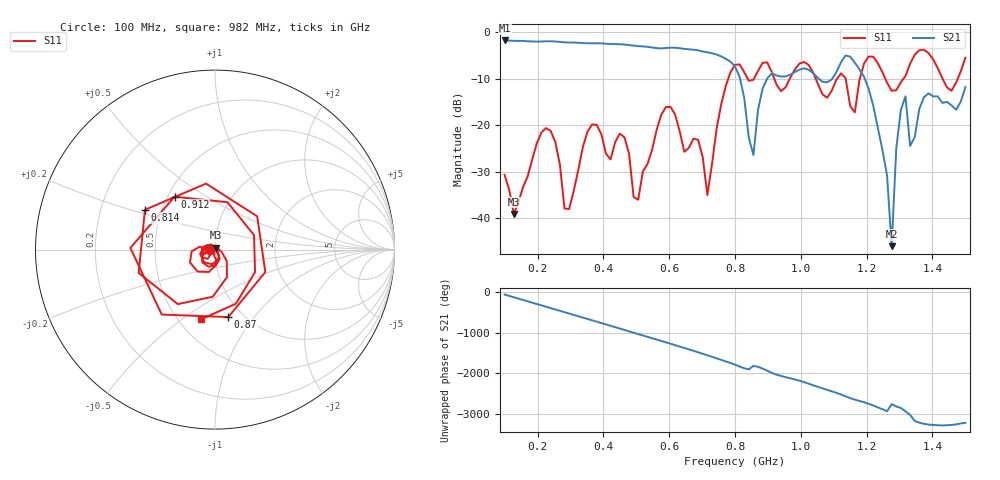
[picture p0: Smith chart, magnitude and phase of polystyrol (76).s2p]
! NanoVNA-App
! Date: 2025-09-25 15:30:29
! Start: 100MHz Stop: 1,5GHz Points: 101
! S-Parameter data: F S11 S21 S12 S22
# Hz S RI R 50
!  Frequency  S11_Real  S11_Imag  S21_Real  S21_Imag  S12_Real  S12_Imag  S22_Real  S22_Imag
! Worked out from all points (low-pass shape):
!   101 points, 100 MHz to 1.5 GHz, reference 50 ohm
!   highest |S21| = -1.80 dB at 100 MHz (marker M1); lowest = -46.1 dB at 1.276 GHz (marker M2)
!   |S21| within 3 dB of the highest: start of sweep to 742.9 MHz
!   lowest |S11| = -39.1 dB at 128 MHz (marker M3), VSWR 1.02, Z = 50.3 + j1.06 ohm
!   |S11| at or under -10 dB: start of sweep to 779.7 MHz; 1.045 GHz to 1.111 GHz (65.42 MHz wide, 6.07 % of centre); 1.257 GHz to 1.312 GHz (55.69 MHz wide, 4.34 % of centre)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
!   S12 and S22 are empty: the file has one direction only
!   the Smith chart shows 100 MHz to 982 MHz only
!   S11 on the Smith chart (normalised r, x): 100 MHz: 0.94, -0.01; 814 MHz: 0.40, +0.22; 870 MHz: 0.85, -0.75; 912 MHz: 0.54, +0.37; 982 MHz: 0.64, -0.59
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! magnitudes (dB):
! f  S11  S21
! 100 MHz  -30.7  -1.8
! 128 MHz  -39.1  -1.9
! 212 MHz  -21.6  -2.0
! 282 MHz  -38.0  -2.2
! 338 MHz  -24.7  -2.4
! 464 MHz  -22.6  -2.7
! 506 MHz  -36.1  -3.0
! 576 MHz  -17.8  -3.5
! 716 MHz  -35.0  -4.3
! 800 MHz  -7.0  -7.4
! 814 MHz  -7.0  -9.6
! 856 MHz  -10.3  -26.4
! 870 MHz  -8.3  -16.7
! 912 MHz  -8.6  -8.9
! 982 MHz  -8.0  -8.6
! 1.038 GHz  -8.8  -8.9
! 1.192 GHz  -6.8  -9.6
! 1.276 GHz  -12.6  -46.1
! 1.29 GHz  -12.5  -25.0
! 1.318 GHz  -9.4  -13.8
! 1.332 GHz  -6.8  -24.5
! 1.5 GHz  -5.5  -11.8
